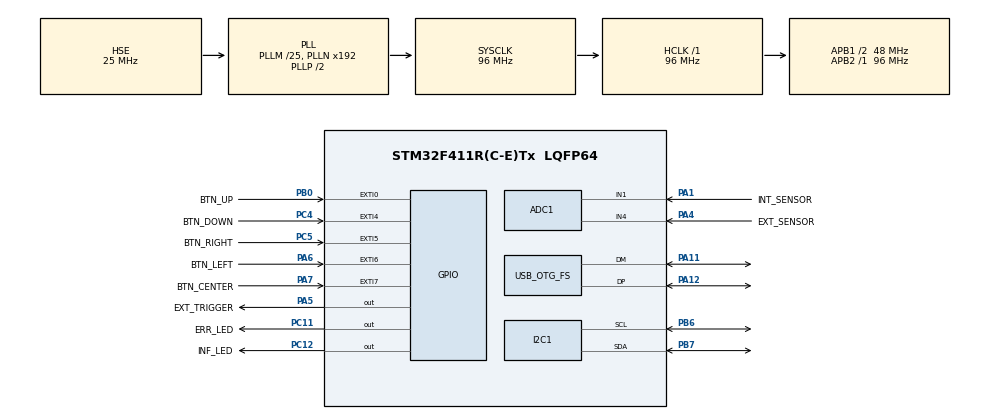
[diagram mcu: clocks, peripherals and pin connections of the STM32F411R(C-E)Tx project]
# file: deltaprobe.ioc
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ADC1.Channel-0\#ChannelRegularConversion=ADC_CHANNEL_4
ADC1.NbrOfConversionFlag=1
ADC1.Rank-0\#ChannelRegularConversion=1
ADC1.SamplingTime-0\#ChannelRegularConversion=ADC_SAMPLETIME_3CYCLES
ADC1.master=1
I2C1.I2C_Mode=I2C_Fast
Mcu.Family=STM32F4
Mcu.Name=STM32F411R(C-E)Tx
Mcu.Package=LQFP64
Mcu.UserConstants=IT_DEBOUNCE_US,20000
NVIC.EXTI0_IRQn=true\:0\:0\:false\:false\:true\:true\:true\:true
NVIC.EXTI4_IRQn=true\:0\:0\:false\:false\:true\:true\:true\:true
NVIC.EXTI9_5_IRQn=true\:0\:0\:false\:false\:true\:true\:true\:true
NVIC.OTG_FS_IRQn=true\:0\:0\:false\:false\:true\:true\:true\:true
NVIC.PriorityGroup=NVIC_PRIORITYGROUP_4
NVIC.TIM1_TRG_COM_TIM11_IRQn=true\:0\:0\:false\:false\:true\:true\:true\:true
NVIC.TIM3_IRQn=true\:0\:0\:false\:false\:true\:true\:true\:true
NVIC.TIM4_IRQn=true\:0\:0\:false\:false\:true\:true\:true\:true
PA1.GPIO_Label=INT_SENSOR
PA1.Signal=ADCx_IN1
PA11.Mode=Device_Only
PA11.Signal=USB_OTG_FS_DM
PA12.Mode=Device_Only
PA12.Signal=USB_OTG_FS_DP
PA13.Mode=Serial_Wire
PA13.Signal=SYS_JTMS-SWDIO
PA14.Mode=Serial_Wire
PA14.Signal=SYS_JTCK-SWCLK
PA4.GPIO_Label=EXT_SENSOR
PA4.Signal=ADCx_IN4
PA5.GPIO_Label=EXT_TRIGGER
PA5.Signal=GPIO_Output
PA6.GPIO_Label=BTN_LEFT
PA6.GPIO_ModeDefaultEXTI=GPIO_MODE_IT_RISING_FALLING
PA6.GPIO_PuPd=GPIO_PULLUP
PA6.Signal=GPXTI6
PA7.GPIO_Label=BTN_CENTER
PA7.GPIO_ModeDefaultEXTI=GPIO_MODE_IT_RISING_FALLING
PA7.GPIO_PuPd=GPIO_PULLUP
PA7.Signal=GPXTI7
PB0.GPIO_Label=BTN_UP
PB0.GPIO_ModeDefaultEXTI=GPIO_MODE_IT_RISING_FALLING
PB0.GPIO_PuPd=GPIO_PULLUP
PB0.Signal=GPXTI0
PB6.Mode=I2C
PB6.Signal=I2C1_SCL
PB7.Mode=I2C
PB7.Signal=I2C1_SDA
PC11.GPIO_Label=ERR_LED
PC11.Signal=GPIO_Output
PC12.GPIO_Label=INF_LED
PC12.Signal=GPIO_Output
PC4.GPIO_Label=BTN_DOWN
PC4.GPIO_ModeDefaultEXTI=GPIO_MODE_IT_RISING_FALLING
PC4.GPIO_PuPd=GPIO_PULLUP
PC4.Signal=GPXTI4
PC5.GPIO_Label=BTN_RIGHT
PC5.GPIO_ModeDefaultEXTI=GPIO_MODE_IT_RISING_FALLING
PC5.GPIO_PuPd=GPIO_PULLUP
PC5.Signal=GPXTI5
PH0\ -\ OSC_IN.Mode=HSE-External-Oscillator
PH0\ -\ OSC_IN.Signal=RCC_OSC_IN
PH1\ -\ OSC_OUT.Mode=HSE-External-Oscillator
PH1\ -\ OSC_OUT.Signal=RCC_OSC_OUT
ProjectManager.HeapSize=0x200
ProjectManager.StackSize=0x400
ProjectManager.TargetToolchain=Makefile
RCC.48MHZClocksFreq_Value=48000000
RCC.AHBFreq_Value=96000000
RCC.APB1CLKDivider=RCC_HCLK_DIV2
RCC.APB1Freq_Value=48000000
RCC.APB1TimFreq_Value=96000000
RCC.APB2Freq_Value=96000000
RCC.APB2TimFreq_Value=96000000
RCC.CortexFreq_Value=96000000
RCC.HCLKFreq_Value=96000000
RCC.HSE_VALUE=25000000
RCC.HSI_VALUE=16000000
RCC.LSE_VALUE=32768
RCC.PLLM=25
RCC.SYSCLKFreq_VALUE=96000000
RCC.SYSCLKSource=RCC_SYSCLKSOURCE_PLLCLK
RCC.VCOOutputFreq_Value=192000000
SH.ADCx_IN1.0=ADC1_IN1,IN1
SH.ADCx_IN4.0=ADC1_IN4,IN4
TIM11.Period=IT_DEBOUNCE_US - 1
TIM11.Prescaler=96 - 1
TIM2.Prescaler=96 - 1
TIM3.Period=62499
TIM3.Prescaler=1535
TIM4.Period=64934
TIM4.Prescaler=7391
USB_OTG_FS.VirtualMode=Device_Only
VP_TIM11_VS_ClockSourceINT.Mode=Enable_Timer
VP_TIM2_VS_ClockSourceINT.Mode=Internal
VP_TIM3_VS_ClockSourceINT.Mode=Internal
VP_TIM4_VS_ClockSourceINT.Mode=Internal
board=custom

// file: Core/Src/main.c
/* USER CODE BEGIN Header */
/**
 ******************************************************************************
 * @file           : main.c
 * @brief          : Main program body
 ******************************************************************************
 * @attention
 *
 * Copyright (c) 2026 David Justo.
 * All rights reserved.
 *
 * This software is not licensed for distribution, modification, or commercial
 * use without explicit written permission from the author.
 *
 * THE SOFTWARE IS PROVIDED "AS IS", WITHOUT WARRANTY OF ANY KIND, EXPRESS OR
 * IMPLIED, INCLUDING BUT NOT LIMITED TO THE WARRANTIES OF MERCHANTABILITY,
 * FITNESS FOR A PARTICULAR PURPOSE AND NONINFRINGEMENT. IN NO EVENT SHALL THE
 * AUTHORS OR COPYRIGHT HOLDERS BE LIABLE FOR ANY CLAIM, DAMAGES OR OTHER
 * LIABILITY, WHETHER IN AN ACTION OF CONTRACT, TORT OR OTHERWISE, ARISING FROM,
 * OUT OF OR IN CONNECTION WITH THE SOFTWARE OR THE USE OR OTHER DEALINGS IN THE
 * SOFTWARE.
 *
 ******************************************************************************
 */
/* USER CODE END Header */
#include "main.h"

/* USER CODE BEGIN Includes */

#include "buttons.h"
#include "display.h"
#include "flash.h"
#include "measure.h"
#include "sleep.h"
#include "tusb.h"
#include "u8g2.h"
#include "u8x8.h"
#include "usb.h"
#include "usbd.h"

/* USER CODE END Includes */

/* USER CODE BEGIN PTD */

typedef void (*menu_action_fn)(void);

/* USER CODE END PTD */

ADC_HandleTypeDef hadc1;

I2C_HandleTypeDef hi2c1;

TIM_HandleTypeDef htim2;
TIM_HandleTypeDef htim3;
TIM_HandleTypeDef htim4;
TIM_HandleTypeDef htim11;

PCD_HandleTypeDef hpcd_USB_OTG_FS;

/* USER CODE BEGIN PV */

uint16_t sensor_threshold = DEFAULT_THRESHOLD;
uint8_t num_cycles = DEFAULT_NUM_CYCLES;
uint8_t adc_channel = DEFAULT_ADC_CHANNEL;
uint16_t cycle_index = 0;
uint32_t max_adc_val;
uint32_t min_adc_val = UINT32_MAX;
uint32_t cur_adc_val;

static volatile uint8_t debounce_running = 0;
static volatile uint8_t jiggle_interrupt_counter = 0;

ParamsMenu main_menu_selector = LATENCY;
MainMenu params_menu_selector = CYCLES;
LatencyMode latency_mode_selector = CLICK;
u8g2_t u8g2;

/* USER CODE END PV */

void SystemClock_Config(void);
static void MX_GPIO_Init(void);
static void MX_ADC1_Init(void);
static void MX_I2C1_Init(void);
static void MX_TIM2_Init(void);
static void MX_USB_OTG_FS_PCD_Init(void);
static void MX_TIM11_Init(void);
static void MX_TIM3_Init(void);
static void MX_TIM4_Init(void);
/* USER CODE BEGIN PFP */

static void latency_routine(void);
static void params_menu_routine(void);
static void jiggle_routine(void);

/* USER CODE END PFP */

/* USER CODE BEGIN 0 */

static const menu_action_fn menu_actions[] = {
    [LATENCY] = latency_routine,
    [PARAMS] = params_menu_routine,
    [JIGGLER] = jiggle_routine,
};

#define MENU_ACTIONS_COUNT (sizeof(menu_actions) / sizeof(menu_actions[0]))

/**
 * @brief  This function is called when a timer interrupt occurs.
 * @details It handles three different timer events:
 * - TIM11 is the button interrupt timer. Debounces with about 50ms.
 * - TIM3 fires every second to provide ticks for mouse jiggler.
 * - TIM4 fires every 5 seconds to provide ticks for the standby routine.
 * @param  htim: Pointer to a TIM_HandleTypeDef structure that allows
 *  identifying the interrupting timer.
 * @retval None
 */
void HAL_TIM_PeriodElapsedCallback(TIM_HandleTypeDef *htim) {
  if (htim->Instance == TIM11) {
    btn_center_pressed = btn_is_down(BTN_CENTER_GPIO_Port, BTN_CENTER_Pin);
    btn_up_pressed = btn_is_down(BTN_UP_GPIO_Port, BTN_UP_Pin);
    btn_down_pressed = btn_is_down(BTN_DOWN_GPIO_Port, BTN_DOWN_Pin);
    btn_left_pressed = btn_is_down(BTN_LEFT_GPIO_Port, BTN_LEFT_Pin);
    btn_right_pressed = btn_is_down(BTN_RIGHT_GPIO_Port, BTN_RIGHT_Pin);

    debounce_running = 0;
    HAL_TIM_Base_Stop_IT(&htim11);
  }

  if (htim->Instance == TIM3) {
    jiggle_interrupt_counter++;
    led_interrupt_counter++;
  }

  if (htim->Instance == TIM4) {
    if (!display_sleeping) {
      if (standby_interrupt_counter == DISPLAY_SLEEP_TIMEOUT_S / 5) {
        sleep_requested = 1;
      }
      if (standby_interrupt_counter < DISPLAY_SLEEP_TIMEOUT_S / 5) {
        standby_interrupt_counter++;
      }
    }
  }
}

/**
 * @brief  This function handles the EXTI interrupt callback.
 * @details Used for passing button events to the application with some debounce
 * and waking up from screen standby.
 *
 * @param  GPIO_Pin GPIO pin number of the causing pin.
 * @retval None
 */
void HAL_GPIO_EXTI_Callback(uint16_t GPIO_Pin) {
  (void)GPIO_Pin;

  HAL_TIM_Base_Stop_IT(&htim4);
  __HAL_TIM_SET_COUNTER(&htim4, 0);
  __HAL_TIM_SET_COUNTER(&htim11, 0);
  standby_interrupt_counter = 0;
  HAL_TIM_Base_Start_IT(&htim4);

  if (display_sleeping) {
    wakeup_requested = 1;
    return;
  }

  if (!debounce_running) {
    debounce_running = 1;
    HAL_TIM_Base_Start_IT(&htim11);
  }
}

/**
 * @brief Reads the current ADC value and updates the global minimum and maximum
 * values.
 *
 * @retval None
 */
static void populate_ADC_vals() {
  cur_adc_val = read_single_ADC();

  if (cur_adc_val < min_adc_val) {
    min_adc_val = cur_adc_val;
  }
  if (cur_adc_val > max_adc_val) {
    max_adc_val = cur_adc_val;
  }
}

/**
 * @brief Switches the ADC channel for the photon sensor.
 *
 * @details ADC1 connects PA1 (internal) and PA5 (external) sensors. This method
 * switches the channel depending on user setting/value from flash.
 *
 * @retval None
 */
void update_ADC_channel() {
  HAL_ADC_Stop(&hadc1);
  ADC_ChannelConfTypeDef sConfig = {0};

  if (adc_channel == 1) {
    sConfig.Channel = ADC_CHANNEL_1;
  } else if (adc_channel == 4) {
    sConfig.Channel = ADC_CHANNEL_4;
  }

  sConfig.Rank = 1;
  sConfig.SamplingTime = ADC_SAMPLETIME_3CYCLES;
  if (HAL_ADC_ConfigChannel(&hadc1, &sConfig) != HAL_OK) {
    HAL_GPIO_WritePin(ERR_LED_GPIO_Port, ERR_LED_Pin, GPIO_PIN_SET);
    draw_error_overlay("HAL Error!", "Could not", "set ADC channel.");
    HAL_GPIO_WritePin(ERR_LED_GPIO_Port, ERR_LED_Pin, GPIO_PIN_RESET);
  }
}

/**
 * @brief Runs the latency measurement routine.
 * @details Measures latency for `num_cycles`, computes statistics,
 *          renders results, and waits for the user to dismiss.
 */
static void latency_routine(void) {
  uint32_t latencies_us[num_cycles];
  memset(latencies_us, 0, sizeof(latencies_us));

  while (cycle_index < num_cycles) {
    int8_t error = measure(latencies_us);

    if (error) {
      cycle_index = 0;
      break;
    }
    cycle_index++;
  }

  float mean_ms = 0.0f;
  float sd_ms = 0.0f;

  compute_latency_stats(latencies_us, &mean_ms, &sd_ms);
  render_statistics(latencies_us, mean_ms, sd_ms);
  cycle_index = 0;

  while (!btn_center_pressed) {
    tud_task();
    handle_MCU_sleep();
  }
  btn_center_pressed = 0;

  sleep_requested = 0;
  standby_interrupt_counter = 0;
}

/**
 * @brief This function runs the parameter menu loop.
 * @details It can sleep the MCU, polls buttons, polls ADC, and draws the menu.
 * If the exit button is pressed, it saves to flash. If flash fails, it shows an
 * error.
 * @retval None
 */
static void params_menu_routine(void) {
  main_menu_selector = 0;
  cur_adc_val = 0;
  min_adc_val = INT32_MAX;
  max_adc_val = 0;
  while (1) {
    handle_MCU_sleep();
    poll_param_menu_buttons();
    poll_value_buttons();

    populate_ADC_vals();
    render_params_menu(params_menu_selector);
    if (btn_center_pressed) {
      if (params_menu_selector == EXIT) {
        if (save_to_flash() != FLASH_OK) {
          HAL_GPIO_WritePin(ERR_LED_GPIO_Port, ERR_LED_Pin, GPIO_PIN_SET);
          draw_error_overlay("Flash error!", "Could not", "save to flash.");
          HAL_Delay(2000);
          HAL_GPIO_WritePin(ERR_LED_GPIO_Port, ERR_LED_Pin, GPIO_PIN_RESET);
        }

        update_ADC_channel();

        HAL_Delay(50);
        params_menu_selector = 0;
        break;
      }
    }
  }
}

/**
 * @brief This function runs the jiggle routine.
 * It initializes a counter, waits for debounce, then enters a loop.
 * It draws a countdown screen, moves the mouse randomly after JIGGLE_INTERVAL_S
 * seconds, and exits if the center button is pressed.
 */
static void jiggle_routine(void) {
  jiggle_interrupt_counter = 0;
  HAL_Delay(50);

  while (1) {
    tud_task();
    handle_display_sleep();

    render_jiggler_screen(JIGGLE_INTERVAL_S - jiggle_interrupt_counter);
    if (jiggle_interrupt_counter == JIGGLE_INTERVAL_S) {
      jiggle_interrupt_counter = 0;

      random_mouse_move();
    }

    if (btn_center_pressed) {
      HAL_Delay(50);
      return;
    }
  }
}

/**
 * @brief  Initializes the hardware components and system peripherals.
 * @details This function performs the initialization of hardware:
 * - Initializes the TinyUSB stack for the root hub port 0 as a high-speed device.
 * - Self-test of GPIO LEDs
 * - Sets up the display using the u8g2 library, initializes it, and disables power saving mode.
 * - Renders a splash screen on the display.
 * - Waits for a brief period (2 seconds) to allow USB init to settle.
 * - Reads the flash memory for stored settings or data.
 * - Configures and updates the ADC channel.
 * - Starts the base timers with interrupt functionality for periodic operations.
 */
static void hardware_init(void) {
  // init usb device stack on roothub port 0 for highspeed device
  tusb_rhport_init_t dev_init = {.role = TUSB_ROLE_DEVICE,
                                 .speed = TUSB_SPEED_FULL};
  tusb_init(0, &dev_init);

  HAL_GPIO_WritePin(INF_LED_GPIO_Port, INF_LED_Pin, GPIO_PIN_SET);
  HAL_GPIO_WritePin(ERR_LED_GPIO_Port, ERR_LED_Pin, GPIO_PIN_SET);

  u8g2_Setup_sh1107_i2c_seeed_128x128_f(&u8g2, U8G2_R0, u8x8_byte_stm32_hw_i2c,
                                        u8x8_stm32_gpio_and_delay);
  u8g2_InitDisplay(&u8g2);
  u8g2_SetPowerSave(&u8g2, 0);

  render_splash_screen();

  // wait 2s for USB to settle and show splashscreen
  const uint32_t t0 = HAL_GetTick();
  while (HAL_GetTick() - t0 < 1000) {
    tud_task();
    HAL_Delay(2);
  }

  HAL_GPIO_WritePin(INF_LED_GPIO_Port, INF_LED_Pin, GPIO_PIN_RESET);
  HAL_GPIO_WritePin(ERR_LED_GPIO_Port, ERR_LED_Pin, GPIO_PIN_RESET);

  read_flash();

  update_ADC_channel();

  HAL_TIM_Base_Start_IT(&htim3);
  HAL_TIM_Base_Start_IT(&htim4);

}

/* USER CODE END 0 */

int main(void) {

  /* MCU Configuration--------------------------------------------------------*/

  /* Reset of all peripherals, Initializes the Flash interface and the Systick.
   */
  HAL_Init();

  /* USER CODE BEGIN Init */
  asm(".global _printf_float");

  /* USER CODE END Init */

  /* Configure the system clock */
  SystemClock_Config();

  /* Initialize all configured peripherals */
  MX_GPIO_Init();
  MX_ADC1_Init();
  MX_I2C1_Init();
  MX_TIM2_Init();
  MX_USB_OTG_FS_PCD_Init();
  MX_TIM11_Init();
  MX_TIM3_Init();
  MX_TIM4_Init();
  /* USER CODE BEGIN 2 */

  hardware_init();

  /* USER CODE END 2 */

  /* Infinite loop */
  /* USER CODE BEGIN WHILE */
  while (1) {
    tud_task();
    poll_main_menu_buttons();
    handle_MCU_sleep();

    if (btn_center_pressed && (size_t)main_menu_selector < MENU_ACTIONS_COUNT &&
        menu_actions[main_menu_selector]) {
      menu_actions[main_menu_selector]();
    }

    render_startup_screen();

    HAL_Delay(10);

    /* USER CODE END WHILE */

  }
}

void SystemClock_Config(void) {
  RCC_OscInitTypeDef RCC_OscInitStruct = {0};
  RCC_ClkInitTypeDef RCC_ClkInitStruct = {0};

  /** Configure the main internal regulator output voltage
   */
  __HAL_RCC_PWR_CLK_ENABLE();
  __HAL_PWR_VOLTAGESCALING_CONFIG(PWR_REGULATOR_VOLTAGE_SCALE1);

  /** Initializes the RCC Oscillators according to the specified parameters
   * in the RCC_OscInitTypeDef structure.
   */
  RCC_OscInitStruct.OscillatorType = RCC_OSCILLATORTYPE_HSE;
  RCC_OscInitStruct.HSEState = RCC_HSE_ON;
  RCC_OscInitStruct.PLL.PLLState = RCC_PLL_ON;
  RCC_OscInitStruct.PLL.PLLSource = RCC_PLLSOURCE_HSE;
  RCC_OscInitStruct.PLL.PLLM = 25;
  RCC_OscInitStruct.PLL.PLLN = 192;
  RCC_OscInitStruct.PLL.PLLP = RCC_PLLP_DIV2;
  RCC_OscInitStruct.PLL.PLLQ = 4;
  if (HAL_RCC_OscConfig(&RCC_OscInitStruct) != HAL_OK) {
    Error_Handler();
  }

  /** Initializes the CPU, AHB and APB buses clocks
   */
  RCC_ClkInitStruct.ClockType = RCC_CLOCKTYPE_HCLK | RCC_CLOCKTYPE_SYSCLK |
                                RCC_CLOCKTYPE_PCLK1 | RCC_CLOCKTYPE_PCLK2;
  RCC_ClkInitStruct.SYSCLKSource = RCC_SYSCLKSOURCE_PLLCLK;
  RCC_ClkInitStruct.AHBCLKDivider = RCC_SYSCLK_DIV1;
  RCC_ClkInitStruct.APB1CLKDivider = RCC_HCLK_DIV2;
  RCC_ClkInitStruct.APB2CLKDivider = RCC_HCLK_DIV1;

  if (HAL_RCC_ClockConfig(&RCC_ClkInitStruct, FLASH_LATENCY_3) != HAL_OK) {
    Error_Handler();
  }
}

static void MX_ADC1_Init(void) {

  ADC_ChannelConfTypeDef sConfig = {0};

  /** Configure the global features of the ADC (Clock, Resolution, Data
   * Alignment and number of conversion)
   */
  hadc1.Instance = ADC1;
  hadc1.Init.ClockPrescaler = ADC_CLOCK_SYNC_PCLK_DIV4;
  hadc1.Init.Resolution = ADC_RESOLUTION_12B;
  hadc1.Init.ScanConvMode = DISABLE;
  hadc1.Init.ContinuousConvMode = DISABLE;
  hadc1.Init.DiscontinuousConvMode = DISABLE;
  hadc1.Init.ExternalTrigConvEdge = ADC_EXTERNALTRIGCONVEDGE_NONE;
  hadc1.Init.ExternalTrigConv = ADC_SOFTWARE_START;
  hadc1.Init.DataAlign = ADC_DATAALIGN_RIGHT;
  hadc1.Init.NbrOfConversion = 1;
  hadc1.Init.DMAContinuousRequests = DISABLE;
  hadc1.Init.EOCSelection = ADC_EOC_SINGLE_CONV;
  if (HAL_ADC_Init(&hadc1) != HAL_OK) {
    Error_Handler();
  }

  /** Configure for the selected ADC regular channel its corresponding rank in
   * the sequencer and its sample time.
   */
  sConfig.Channel = ADC_CHANNEL_4;
  sConfig.Rank = 1;
  sConfig.SamplingTime = ADC_SAMPLETIME_3CYCLES;
  if (HAL_ADC_ConfigChannel(&hadc1, &sConfig) != HAL_OK) {
    Error_Handler();
  }
}

static void MX_I2C1_Init(void) {

  hi2c1.Instance = I2C1;
  hi2c1.Init.ClockSpeed = 400000;
  hi2c1.Init.DutyCycle = I2C_DUTYCYCLE_2;
  hi2c1.Init.OwnAddress1 = 0;
  hi2c1.Init.AddressingMode = I2C_ADDRESSINGMODE_7BIT;
  hi2c1.Init.DualAddressMode = I2C_DUALADDRESS_DISABLE;
  hi2c1.Init.OwnAddress2 = 0;
  hi2c1.Init.GeneralCallMode = I2C_GENERALCALL_DISABLE;
  hi2c1.Init.NoStretchMode = I2C_NOSTRETCH_DISABLE;
  if (HAL_I2C_Init(&hi2c1) != HAL_OK) {
    Error_Handler();
  }
}

static void MX_TIM2_Init(void) {

  TIM_ClockConfigTypeDef sClockSourceConfig = {0};
  TIM_MasterConfigTypeDef sMasterConfig = {0};

  htim2.Instance = TIM2;
  htim2.Init.Prescaler = 96 - 1;
  htim2.Init.CounterMode = TIM_COUNTERMODE_UP;
  htim2.Init.Period = 4294967295;
  htim2.Init.ClockDivision = TIM_CLOCKDIVISION_DIV1;
  htim2.Init.AutoReloadPreload = TIM_AUTORELOAD_PRELOAD_DISABLE;
  if (HAL_TIM_Base_Init(&htim2) != HAL_OK) {
    Error_Handler();
  }
  sClockSourceConfig.ClockSource = TIM_CLOCKSOURCE_INTERNAL;
  if (HAL_TIM_ConfigClockSource(&htim2, &sClockSourceConfig) != HAL_OK) {
    Error_Handler();
  }
  sMasterConfig.MasterOutputTrigger = TIM_TRGO_RESET;
  sMasterConfig.MasterSlaveMode = TIM_MASTERSLAVEMODE_DISABLE;
  if (HAL_TIMEx_MasterConfigSynchronization(&htim2, &sMasterConfig) != HAL_OK) {
    Error_Handler();
  }
}

static void MX_TIM3_Init(void) {

  TIM_ClockConfigTypeDef sClockSourceConfig = {0};
  TIM_MasterConfigTypeDef sMasterConfig = {0};

  htim3.Instance = TIM3;
  htim3.Init.Prescaler = 1535;
  htim3.Init.CounterMode = TIM_COUNTERMODE_UP;
  htim3.Init.Period = 62499;
  htim3.Init.ClockDivision = TIM_CLOCKDIVISION_DIV1;
  htim3.Init.AutoReloadPreload = TIM_AUTORELOAD_PRELOAD_DISABLE;
  if (HAL_TIM_Base_Init(&htim3) != HAL_OK) {
    Error_Handler();
  }
  sClockSourceConfig.ClockSource = TIM_CLOCKSOURCE_INTERNAL;
  if (HAL_TIM_ConfigClockSource(&htim3, &sClockSourceConfig) != HAL_OK) {
    Error_Handler();
  }
  sMasterConfig.MasterOutputTrigger = TIM_TRGO_RESET;
  sMasterConfig.MasterSlaveMode = TIM_MASTERSLAVEMODE_DISABLE;
  if (HAL_TIMEx_MasterConfigSynchronization(&htim3, &sMasterConfig) != HAL_OK) {
    Error_Handler();
  }
}

static void MX_TIM4_Init(void) {

  TIM_ClockConfigTypeDef sClockSourceConfig = {0};
  TIM_MasterConfigTypeDef sMasterConfig = {0};

  htim4.Instance = TIM4;
  htim4.Init.Prescaler = 7391;
  htim4.Init.CounterMode = TIM_COUNTERMODE_UP;
  htim4.Init.Period = 64934;
  htim4.Init.ClockDivision = TIM_CLOCKDIVISION_DIV1;
  htim4.Init.AutoReloadPreload = TIM_AUTORELOAD_PRELOAD_DISABLE;
  if (HAL_TIM_Base_Init(&htim4) != HAL_OK) {
    Error_Handler();
  }
  sClockSourceConfig.ClockSource = TIM_CLOCKSOURCE_INTERNAL;
  if (HAL_TIM_ConfigClockSource(&htim4, &sClockSourceConfig) != HAL_OK) {
    Error_Handler();
  }
  sMasterConfig.MasterOutputTrigger = TIM_TRGO_RESET;
  sMasterConfig.MasterSlaveMode = TIM_MASTERSLAVEMODE_DISABLE;
  if (HAL_TIMEx_MasterConfigSynchronization(&htim4, &sMasterConfig) != HAL_OK) {
    Error_Handler();
  }
}

static void MX_TIM11_Init(void) {

  htim11.Instance = TIM11;
  htim11.Init.Prescaler = 96 - 1;
  htim11.Init.CounterMode = TIM_COUNTERMODE_UP;
  htim11.Init.Period = IT_DEBOUNCE_US - 1;
  htim11.Init.ClockDivision = TIM_CLOCKDIVISION_DIV1;
  htim11.Init.AutoReloadPreload = TIM_AUTORELOAD_PRELOAD_DISABLE;
  if (HAL_TIM_Base_Init(&htim11) != HAL_OK) {
    Error_Handler();
  }
}

static void MX_USB_OTG_FS_PCD_Init(void) {

  hpcd_USB_OTG_FS.Instance = USB_OTG_FS;
  hpcd_USB_OTG_FS.Init.dev_endpoints = 4;
  hpcd_USB_OTG_FS.Init.speed = PCD_SPEED_FULL;
  hpcd_USB_OTG_FS.Init.dma_enable = DISABLE;
  hpcd_USB_OTG_FS.Init.phy_itface = PCD_PHY_EMBEDDED;
  hpcd_USB_OTG_FS.Init.Sof_enable = DISABLE;
  hpcd_USB_OTG_FS.Init.low_power_enable = DISABLE;
  hpcd_USB_OTG_FS.Init.lpm_enable = DISABLE;
  hpcd_USB_OTG_FS.Init.vbus_sensing_enable = DISABLE;
  hpcd_USB_OTG_FS.Init.use_dedicated_ep1 = DISABLE;
  if (HAL_PCD_Init(&hpcd_USB_OTG_FS) != HAL_OK) {
    Error_Handler();
  }
}

static void MX_GPIO_Init(void) {
  GPIO_InitTypeDef GPIO_InitStruct = {0};

  /* GPIO Ports Clock Enable */
  __HAL_RCC_GPIOC_CLK_ENABLE();
  __HAL_RCC_GPIOH_CLK_ENABLE();
  __HAL_RCC_GPIOA_CLK_ENABLE();
  __HAL_RCC_GPIOB_CLK_ENABLE();
  __HAL_RCC_GPIOD_CLK_ENABLE();

  /*Configure GPIO pin Output Level */
  HAL_GPIO_WritePin(EXT_TRIGGER_GPIO_Port, EXT_TRIGGER_Pin, GPIO_PIN_RESET);

  /*Configure GPIO pin Output Level */
  HAL_GPIO_WritePin(GPIOC, ERR_LED_Pin | INF_LED_Pin, GPIO_PIN_RESET);

  /*Configure GPIO pins : PC13 PC14 PC15 PC0
                           PC1 PC2 PC3 PC6
                           PC7 PC8 PC9 PC10 */
  GPIO_InitStruct.Pin = GPIO_PIN_13 | GPIO_PIN_14 | GPIO_PIN_15 | GPIO_PIN_0 |
                        GPIO_PIN_1 | GPIO_PIN_2 | GPIO_PIN_3 | GPIO_PIN_6 |
                        GPIO_PIN_7 | GPIO_PIN_8 | GPIO_PIN_9 | GPIO_PIN_10;
  GPIO_InitStruct.Mode = GPIO_MODE_ANALOG;
  GPIO_InitStruct.Pull = GPIO_NOPULL;
  HAL_GPIO_Init(GPIOC, &GPIO_InitStruct);

  /*Configure GPIO pins : PA0 PA2 PA3 PA8
                           PA9 PA10 PA15 */
  GPIO_InitStruct.Pin = GPIO_PIN_0 | GPIO_PIN_2 | GPIO_PIN_3 | GPIO_PIN_8 |
                        GPIO_PIN_9 | GPIO_PIN_10 | GPIO_PIN_15;
  GPIO_InitStruct.Mode = GPIO_MODE_ANALOG;
  GPIO_InitStruct.Pull = GPIO_NOPULL;
  HAL_GPIO_Init(GPIOA, &GPIO_InitStruct);

  /*Configure GPIO pin : EXT_TRIGGER_Pin */
  GPIO_InitStruct.Pin = EXT_TRIGGER_Pin;
  GPIO_InitStruct.Mode = GPIO_MODE_OUTPUT_PP;
  GPIO_InitStruct.Pull = GPIO_NOPULL;
  GPIO_InitStruct.Speed = GPIO_SPEED_FREQ_LOW;
  HAL_GPIO_Init(EXT_TRIGGER_GPIO_Port, &GPIO_InitStruct);

  /*Configure GPIO pins : BTN_LEFT_Pin BTN_CENTER_Pin */
  GPIO_InitStruct.Pin = BTN_LEFT_Pin | BTN_CENTER_Pin;
  GPIO_InitStruct.Mode = GPIO_MODE_IT_RISING_FALLING;
  GPIO_InitStruct.Pull = GPIO_PULLUP;
  HAL_GPIO_Init(GPIOA, &GPIO_InitStruct);

  /*Configure GPIO pins : BTN_DOWN_Pin BTN_RIGHT_Pin */
  GPIO_InitStruct.Pin = BTN_DOWN_Pin | BTN_RIGHT_Pin;
  GPIO_InitStruct.Mode = GPIO_MODE_IT_RISING_FALLING;
  GPIO_InitStruct.Pull = GPIO_PULLUP;
  HAL_GPIO_Init(GPIOC, &GPIO_InitStruct);

  /*Configure GPIO pin : BTN_UP_Pin */
  GPIO_InitStruct.Pin = BTN_UP_Pin;
  GPIO_InitStruct.Mode = GPIO_MODE_IT_RISING_FALLING;
  GPIO_InitStruct.Pull = GPIO_PULLUP;
  HAL_GPIO_Init(BTN_UP_GPIO_Port, &GPIO_InitStruct);

  /*Configure GPIO pins : PB1 PB2 PB10 PB12
                           PB13 PB14 PB15 PB3
                           PB4 PB5 PB8 PB9 */
  GPIO_InitStruct.Pin = GPIO_PIN_1 | GPIO_PIN_2 | GPIO_PIN_10 | GPIO_PIN_12 |
                        GPIO_PIN_13 | GPIO_PIN_14 | GPIO_PIN_15 | GPIO_PIN_3 |
                        GPIO_PIN_4 | GPIO_PIN_5 | GPIO_PIN_8 | GPIO_PIN_9;
  GPIO_InitStruct.Mode = GPIO_MODE_ANALOG;
  GPIO_InitStruct.Pull = GPIO_NOPULL;
  HAL_GPIO_Init(GPIOB, &GPIO_InitStruct);

  /*Configure GPIO pins : ERR_LED_Pin INF_LED_Pin */
  GPIO_InitStruct.Pin = ERR_LED_Pin | INF_LED_Pin;
  GPIO_InitStruct.Mode = GPIO_MODE_OUTPUT_PP;
  GPIO_InitStruct.Pull = GPIO_NOPULL;
  GPIO_InitStruct.Speed = GPIO_SPEED_FREQ_LOW;
  HAL_GPIO_Init(GPIOC, &GPIO_InitStruct);

  /*Configure GPIO pin : PD2 */
  GPIO_InitStruct.Pin = GPIO_PIN_2;
  GPIO_InitStruct.Mode = GPIO_MODE_ANALOG;
  GPIO_InitStruct.Pull = GPIO_NOPULL;
  HAL_GPIO_Init(GPIOD, &GPIO_InitStruct);

  /* EXTI interrupt init*/
  HAL_NVIC_SetPriority(EXTI0_IRQn, 0, 0);
  HAL_NVIC_EnableIRQ(EXTI0_IRQn);

  HAL_NVIC_SetPriority(EXTI4_IRQn, 0, 0);
  HAL_NVIC_EnableIRQ(EXTI4_IRQn);

  HAL_NVIC_SetPriority(EXTI9_5_IRQn, 0, 0);
  HAL_NVIC_EnableIRQ(EXTI9_5_IRQn);

}

void Error_Handler(void) {
  __disable_irq();
  while (1) {
  }
}
#ifdef USE_FULL_ASSERT
/**
 * @brief  Reports the name of the source file and the source line number
 *         where the assert_param error has occurred.
 * @param  file: pointer to the source file name
 * @param  line: assert_param error line source number
 * @retval None
 */
void assert_failed(uint8_t *file, uint32_t line) {
  /* USER CODE BEGIN 6 */
  /* User can add his own implementation to report the file name and line
     number, ex: printf("Wrong parameters value: file %s on line %d\r\n", file,
     line) */
  /* USER CODE END 6 */
}
#endif /* USE_FULL_ASSERT */
